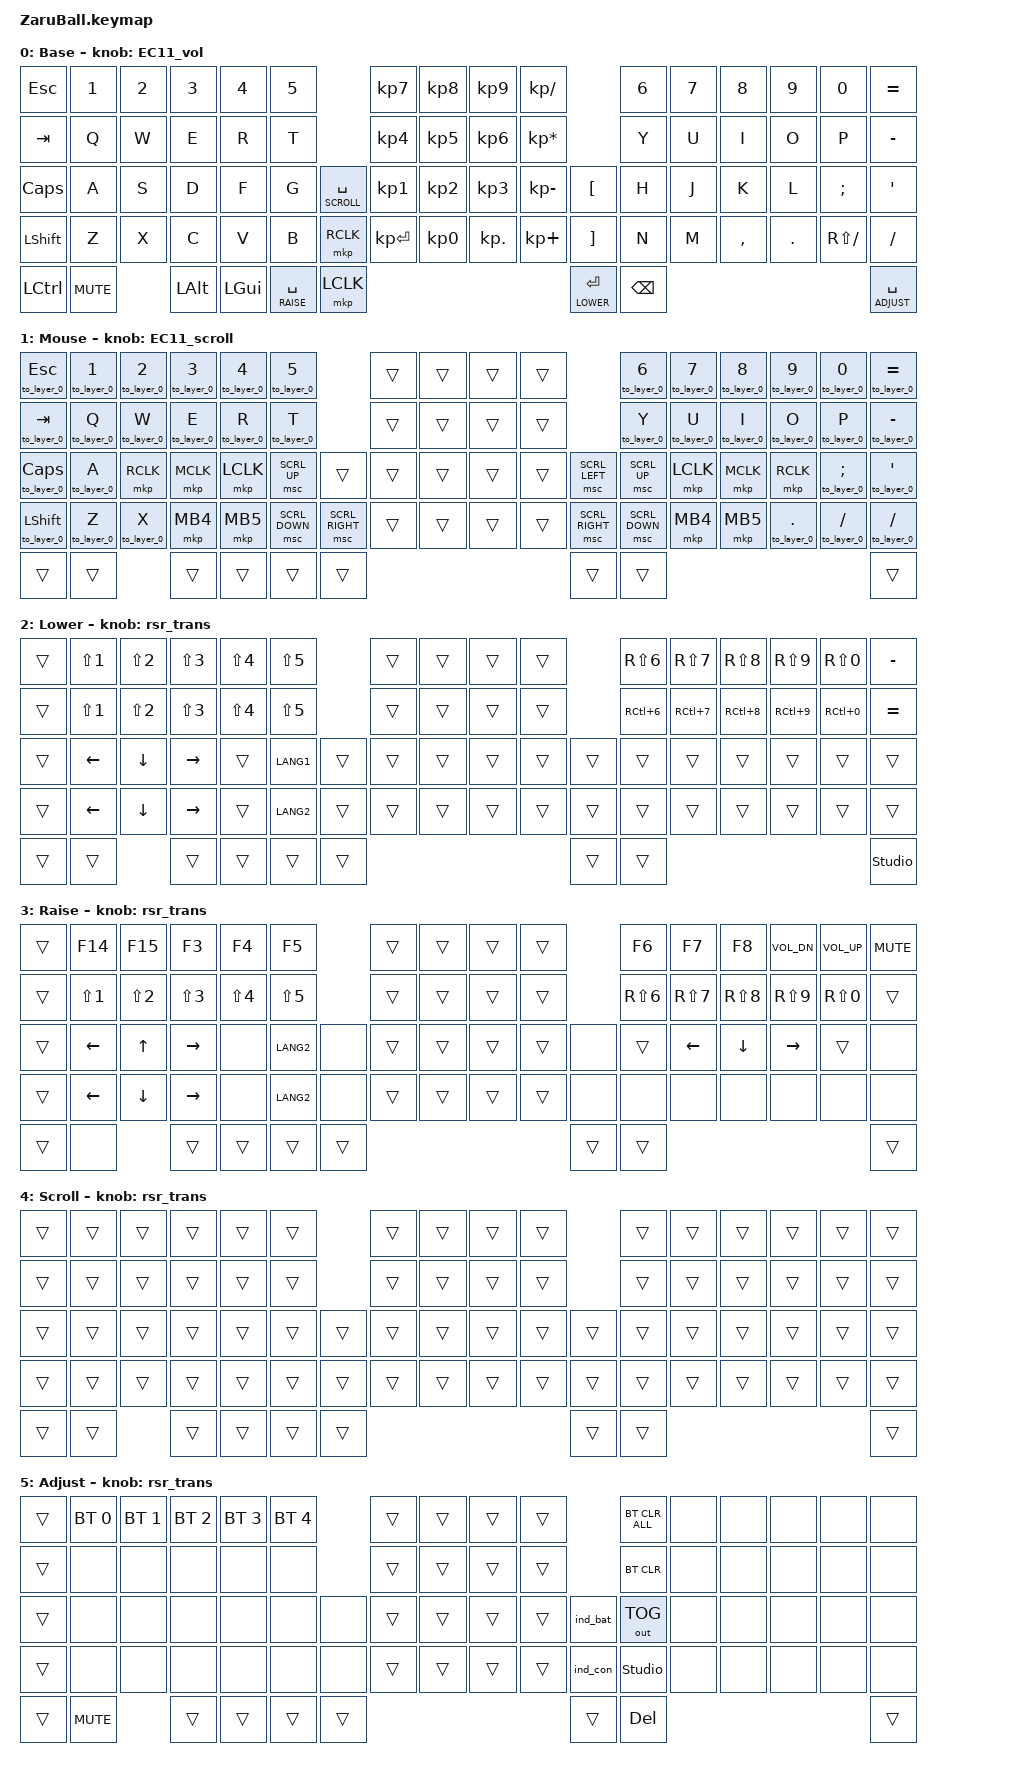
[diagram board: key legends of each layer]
#include <behaviors/rgbled_widget.dtsi>
#include <behaviors.dtsi>
#include <dt-bindings/zmk/bt.h>
#include <dt-bindings/zmk/keys.h>
#include <dt-bindings/zmk/outputs.h>
#include <dt-bindings/zmk/pointing.h>
#include <input/processors.dtsi>
#include <dt-bindings/zmk/input_transform.h>

// DYA Studio用
#include <input/processors/runtime-input-processor.dtsi>
#include <behaviors/runtime-sensor-rotate.dtsi>

#define BASE     0
#define MOUSE    1
#define LOWER    2
#define RAISE    3
#define SCROLL   4
#define ADJUST   5

#define ZMK_POINTING_DEFAULT_SCRL_VAL 100

&trackball_listener {
    input-processors = <
        &zip_xy_transform (INPUT_TRANSFORM_XY_SWAP | INPUT_TRANSFORM_Y_INVERT | INPUT_TRANSFORM_X_INVERT)
        &mouse_runtime_input_processor
        &zip_temp_layer MOUSE 500
    >;
    scroller {
        layers = <SCROLL>;
        input-processors = <
            &zip_xy_transform (INPUT_TRANSFORM_XY_SWAP | INPUT_TRANSFORM_X_INVERT)
            &zip_xy_scaler 1 20
            &zip_xy_to_scroll_mapper
        >;
    };
};

/ {
    conditional_layers {
        compatible = "zmk,conditional-layers";
        tri_layer {
            if-layers = <LOWER RAISE>;
            then-layer = <ADJUST>;
        };
    };
};

/ {
    behaviors {
        // ロータリーエンコーダー（DYA Studioから変更可）
        EC11_vol: behavior_ec11_vol {
            compatible = "zmk,behavior-runtime-sensor-rotate";
            #sensor-binding-cells = <0>;
            cw-binding = <&kp C_VOL_UP>;
            ccw-binding = <&kp C_VOL_DN>;
            tap-ms = <5>;
        };

        EC11_scroll: behavior_ec11_scroll {
            compatible = "zmk,behavior-runtime-sensor-rotate";
            #sensor-binding-cells = <0>;
            cw-binding = <&msc SCRL_DOWN>;
            ccw-binding = <&msc SCRL_UP>;
            tap-ms = <5>;
        };
    };
};

&sl { release-after-ms = <250>; };
/ {
    macros {
        to_layer_0: to_layer_0 {
            compatible = "zmk,behavior-macro-one-param";
            #binding-cells = <1>;
            bindings = <&tog MOUSE &macro_param_1to1 &kp MACRO_PLACEHOLDER>;
            label = "TO_layer_0";
        };
    };
};

/ {
    keymap {
        compatible = "zmk,keymap";

        base_layer {
            display-name = "Base";
            sensor-bindings = <&EC11_vol>;
            bindings = <
&kp ESC    &kp N1      &kp N2  &kp N3    &kp N4     &kp N5                         &kp KP_N7     &kp KP_N8  &kp KP_N9   &kp KP_DIVIDE                   &kp N6  &kp N7  &kp N8     &kp N9   &kp N0         &kp EQUAL
&kp TAB    &kp Q       &kp W   &kp E     &kp R      &kp T                          &kp KP_N4     &kp KP_N5  &kp KP_N6   &kp KP_MULTIPLY                 &kp Y   &kp U   &kp I      &kp O    &kp P          &kp MINUS
&kp CAPS   &kp A       &kp S   &kp D     &kp F      &kp G       &lt SCROLL SPACE   &kp KP_N1     &kp KP_N2  &kp KP_N3   &kp KP_MINUS       &kp LBKT     &kp H   &kp J   &kp K      &kp L    &kp SEMI       &kp SQT
&kp LSHFT  &kp Z       &kp X   &kp C     &kp V      &kp B       &mkp RCLK          &kp KP_ENTER  &kp KP_N0  &kp KP_DOT  &kp KP_PLUS        &kp RBKT     &kp N   &kp M   &kp COMMA  &kp DOT  &kp RS(FSLH)   &kp FSLH
&kp LCTRL  &kp C_MUTE          &kp LALT  &kp LGUI   &lt RAISE SPACE  &mkp LCLK                                                         &lt LOWER RET  &kp BSPC                                       &lt ADJUST SPACE
            >;
        };

        mouse_layer {
            display-name = "Mouse";
            sensor-bindings = <&EC11_scroll>;
            bindings = <
&to_layer_0 ESC     &to_layer_0 N1  &to_layer_0 N2  &to_layer_0 N3  &to_layer_0 N4  &to_layer_0 N5                     &trans  &trans  &trans  &trans                     &to_layer_0 N6   &to_layer_0 N7  &to_layer_0 N8  &to_layer_0 N9      &to_layer_0 N0     &to_layer_0 EQUAL
&to_layer_0 TAB     &to_layer_0 Q   &to_layer_0 W   &to_layer_0 E   &to_layer_0 R   &to_layer_0 T                      &trans  &trans  &trans  &trans                     &to_layer_0 Y    &to_layer_0 U   &to_layer_0 I   &to_layer_0 O       &to_layer_0 P      &to_layer_0 MINUS
&to_layer_0 CAPS    &to_layer_0 A   &mkp RCLK       &mkp MCLK       &mkp LCLK       &msc SCRL_UP    &trans             &trans  &trans  &trans  &trans    &msc SCRL_LEFT   &msc SCRL_UP     &mkp LCLK       &mkp MCLK       &mkp RCLK           &to_layer_0 SEMI   &to_layer_0 SQT
&to_layer_0 LSHIFT  &to_layer_0 Z   &to_layer_0 X   &mkp MB4        &mkp MB5        &msc SCRL_DOWN  &msc SCRL_RIGHT    &trans  &trans  &trans  &trans    &msc SCRL_RIGHT  &msc SCRL_DOWN   &mkp MB4        &mkp MB5        &to_layer_0 DOT     &to_layer_0 FSLH   &to_layer_0 FSLH
&trans              &trans                          &trans          &trans          &trans          &trans                                               &trans           &trans                                                                                &trans
            >;
        };

        lower_layer {
            display-name = "Lower";
            sensor-bindings = <&rsr_trans>;
            bindings = <
&trans  &kp LS(N1)  &kp LS(N2)  &kp LS(N3)  &kp LS(N4)  &kp LS(N5)               &trans  &trans  &trans  &trans            &kp RS(N6)  &kp RS(N7)  &kp RS(N8)  &kp RS(N9)  &kp RS(N0)  &kp MINUS
&trans  &kp LS(N1)  &kp LS(N2)  &kp LS(N3)  &kp LS(N4)  &kp LS(N5)               &trans  &trans  &trans  &trans            &kp RC(N6)  &kp RC(N7)  &kp RC(N8)  &kp RC(N9)  &kp RC(N0)  &kp EQUAL
&trans  &kp LEFT    &kp DOWN    &kp RIGHT   &trans      &kp LANG1   &trans       &trans  &trans  &trans  &trans    &trans  &trans      &trans      &trans      &trans      &trans      &trans
&trans  &kp LEFT    &kp DOWN    &kp RIGHT   &trans      &kp LANG2   &trans       &trans  &trans  &trans  &trans    &trans  &trans      &trans      &trans      &trans      &trans      &trans
&trans  &trans                  &trans      &trans      &trans      &trans                                         &trans  &trans                                                          &studio_unlock
            >;
        };

        raise_layer {
            display-name = "Raise";
            sensor-bindings = <&rsr_trans>;
            bindings = <
&trans  &kp F14     &kp F15     &kp F3      &kp F4      &kp F5                   &trans  &trans  &trans  &trans            &kp F6      &kp F7      &kp F8      &kp K_VOL_DN  &kp K_VOL_UP  &kp K_MUTE
&trans  &kp LS(N1)  &kp LS(N2)  &kp LS(N3)  &kp LS(N4)  &kp LS(N5)               &trans  &trans  &trans  &trans            &kp RS(N6)  &kp RS(N7)  &kp RS(N8)  &kp RS(N9)    &kp RS(N0)    &trans
&trans  &kp LEFT    &kp UP      &kp RIGHT   &none       &kp LANG2   &none        &trans  &trans  &trans  &trans    &none  &trans      &kp LEFT    &kp DOWN    &kp RIGHT     &trans        &none
&trans  &kp LEFT    &kp DOWN    &kp RIGHT   &none       &kp LANG2   &none        &trans  &trans  &trans  &trans    &none  &none       &none       &none       &none         &none         &none
&trans  &none                   &trans      &trans      &trans      &trans                                         &trans  &trans                                                              &trans
            >;
        };

        scroll_layer {
            display-name = "Scroll";
            sensor-bindings = <&rsr_trans>;
            bindings = <
&trans  &trans  &trans  &trans  &trans  &trans               &trans  &trans  &trans  &trans            &trans  &trans  &trans  &trans  &trans  &trans
&trans  &trans  &trans  &trans  &trans  &trans               &trans  &trans  &trans  &trans            &trans  &trans  &trans  &trans  &trans  &trans
&trans  &trans  &trans  &trans  &trans  &trans  &trans       &trans  &trans  &trans  &trans    &trans  &trans  &trans  &trans  &trans  &trans  &trans
&trans  &trans  &trans  &trans  &trans  &trans  &trans       &trans  &trans  &trans  &trans    &trans  &trans  &trans  &trans  &trans  &trans  &trans
&trans  &trans          &trans  &trans  &trans  &trans                                         &trans  &trans                                  &trans
            >;
        };

        adjust_layer {
            display-name = "Adjust";
            sensor-bindings = <&rsr_trans>;
            bindings = <
&trans  &bt BT_SEL 0  &bt BT_SEL 1  &bt BT_SEL 2  &bt BT_SEL 3  &bt BT_SEL 4            &trans  &trans  &trans  &trans              &bt BT_CLR_ALL  &none  &none  &none  &none  &none
&trans  &none         &none         &none         &none         &none                   &trans  &trans  &trans  &trans              &bt BT_CLR      &none  &none  &none  &none  &none
&trans  &none         &none         &none         &none         &none         &none     &trans  &trans  &trans  &trans    &ind_bat  &out OUT_TOG    &none  &none  &none  &none  &none
&trans  &none         &none         &none         &none         &none         &none     &trans  &trans  &trans  &trans    &ind_con  &studio_unlock  &none  &none  &none  &none  &none
&trans  &kp C_MUTE                  &trans        &trans        &trans        &trans                                      &trans    &kp DEL                                     &trans
            >;
        };

        // DYA Studioでレイヤーを追加するための予備
        extra1 { status = "reserved"; };
        extra2 { status = "reserved"; };
    };
};
